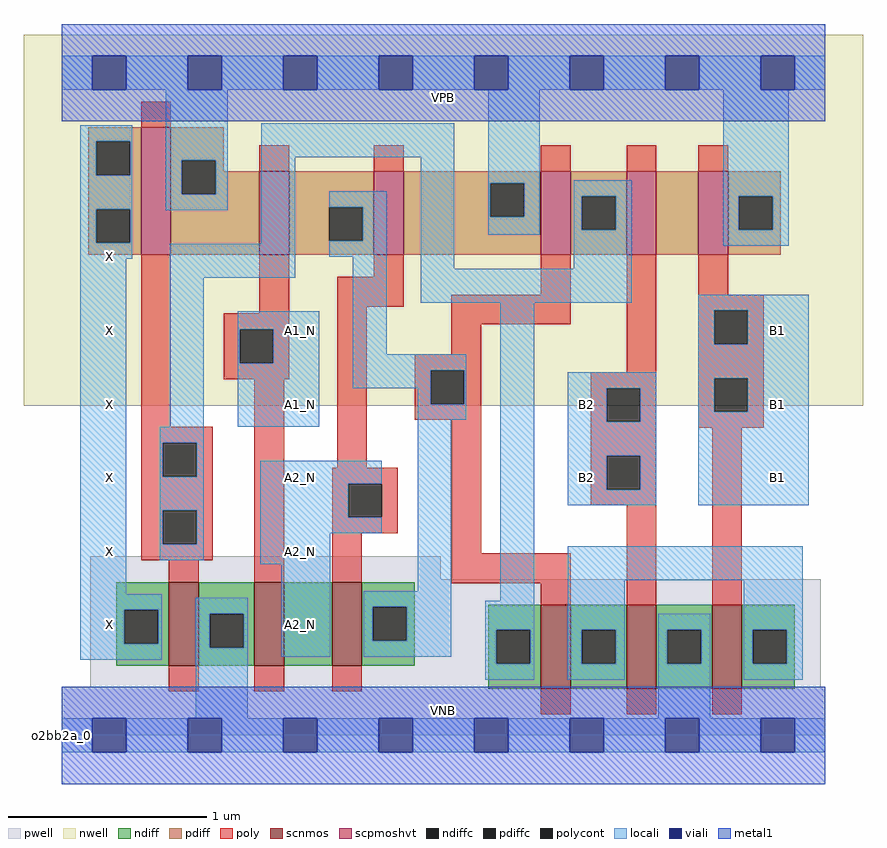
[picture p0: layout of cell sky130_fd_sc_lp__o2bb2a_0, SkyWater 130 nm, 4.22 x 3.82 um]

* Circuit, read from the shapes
.subckt sky130_fd_sc_lp__o2bb2a_0 A1_N A2_N B1 B2 VGND VNB VPB VPWR X
XM1 VGND n1 X VNB sky130_fd_pr__nfet_01v8 w=0.42 l=0.15
XM2 n2 A1_N VGND VNB sky130_fd_pr__nfet_01v8 w=0.42 l=0.15
XM3 n3 A2_N n2 VNB sky130_fd_pr__nfet_01v8 w=0.42 l=0.15
XM4 n4 n3 n1 VNB sky130_fd_pr__nfet_01v8 w=0.42 l=0.15
XM5 VGND B2 n4 VNB sky130_fd_pr__nfet_01v8 w=0.42 l=0.15
XM6 n4 B1 VGND VNB sky130_fd_pr__nfet_01v8 w=0.42 l=0.15
XM7 VPWR n1 X VPB sky130_fd_pr__pfet_01v8_hvt w=0.64 l=0.15
XM8 n3 A1_N VPWR VPB sky130_fd_pr__pfet_01v8_hvt w=0.42 l=0.15
XM9 VPWR A2_N n3 VPB sky130_fd_pr__pfet_01v8_hvt w=0.42 l=0.15
XM10 n1 n3 VPWR VPB sky130_fd_pr__pfet_01v8_hvt w=0.42 l=0.15
XM11 n5 B2 n1 VPB sky130_fd_pr__pfet_01v8_hvt w=0.42 l=0.15
XM12 VPWR B1 n5 VPB sky130_fd_pr__pfet_01v8_hvt w=0.42 l=0.15
.ends

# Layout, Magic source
magic
tech sky130A
magscale 1 2
<< nwell >>
rect -38 331 806 704
<< pwell >>
rect 29 157 381 180
rect 29 49 763 157
rect 0 0 768 49
<< scnmos >>
rect 108 70 138 154
rect 194 70 224 154
rect 272 70 302 154
rect 482 47 512 131
rect 568 47 598 131
rect 654 47 684 131
<< scpmoshvt >>
rect 80 483 110 611
rect 199 483 229 567
rect 314 483 344 567
rect 482 483 512 567
rect 568 483 598 567
rect 640 483 670 567
<< ndiff >>
rect 55 126 108 154
rect 55 92 63 126
rect 97 92 108 126
rect 55 70 108 92
rect 138 122 194 154
rect 138 88 149 122
rect 183 88 194 122
rect 138 70 194 88
rect 224 70 272 154
rect 302 129 355 154
rect 302 95 313 129
rect 347 95 355 129
rect 302 70 355 95
rect 429 106 482 131
rect 429 72 437 106
rect 471 72 482 106
rect 429 47 482 72
rect 512 106 568 131
rect 512 72 523 106
rect 557 72 568 106
rect 512 47 568 72
rect 598 106 654 131
rect 598 72 609 106
rect 643 72 654 106
rect 598 47 654 72
rect 684 106 737 131
rect 684 72 695 106
rect 729 72 737 106
rect 684 47 737 72
<< pdiff >>
rect 27 597 80 611
rect 27 563 35 597
rect 69 563 80 597
rect 27 529 80 563
rect 27 495 35 529
rect 69 495 80 529
rect 27 483 80 495
rect 110 578 163 611
rect 110 544 121 578
rect 155 567 163 578
rect 155 544 199 567
rect 110 483 199 544
rect 229 531 314 567
rect 229 497 269 531
rect 303 497 314 531
rect 229 483 314 497
rect 344 555 482 567
rect 344 521 431 555
rect 465 521 482 555
rect 344 483 482 521
rect 512 542 568 567
rect 512 508 523 542
rect 557 508 568 542
rect 512 483 568 508
rect 598 483 640 567
rect 670 542 723 567
rect 670 508 681 542
rect 715 508 723 542
rect 670 483 723 508
<< ndiffc >>
rect 63 92 97 126
rect 149 88 183 122
rect 313 95 347 129
rect 437 72 471 106
rect 523 72 557 106
rect 609 72 643 106
rect 695 72 729 106
<< pdiffc >>
rect 35 563 69 597
rect 35 495 69 529
rect 121 544 155 578
rect 269 497 303 531
rect 431 521 465 555
rect 523 508 557 542
rect 681 508 715 542
<< poly >>
rect 80 611 110 637
rect 199 567 229 593
rect 314 567 344 593
rect 482 567 512 593
rect 568 567 598 593
rect 640 567 670 593
rect 80 310 110 483
rect 199 424 229 483
rect 314 461 344 483
rect 163 408 229 424
rect 163 374 179 408
rect 213 374 229 408
rect 163 358 229 374
rect 277 431 344 461
rect 482 443 512 483
rect 80 294 152 310
rect 80 260 102 294
rect 136 260 152 294
rect 80 226 152 260
rect 80 192 102 226
rect 136 192 152 226
rect 80 176 152 192
rect 108 154 138 176
rect 194 154 224 358
rect 277 269 307 431
rect 392 413 512 443
rect 392 383 422 413
rect 355 367 422 383
rect 355 333 371 367
rect 405 333 422 367
rect 568 365 598 483
rect 355 317 422 333
rect 272 253 338 269
rect 272 219 288 253
rect 322 219 338 253
rect 272 203 338 219
rect 272 154 302 203
rect 392 183 422 317
rect 532 349 598 365
rect 532 315 548 349
rect 582 315 598 349
rect 532 281 598 315
rect 640 443 670 483
rect 640 427 706 443
rect 640 393 656 427
rect 690 393 706 427
rect 640 359 706 393
rect 640 325 656 359
rect 690 325 706 359
rect 640 309 706 325
rect 532 247 548 281
rect 582 247 598 281
rect 532 231 598 247
rect 392 153 512 183
rect 482 131 512 153
rect 568 131 598 231
rect 654 131 684 309
rect 108 44 138 70
rect 194 44 224 70
rect 272 44 302 70
rect 482 21 512 47
rect 568 21 598 47
rect 654 21 684 47
<< polycont >>
rect 179 374 213 408
rect 102 260 136 294
rect 102 192 136 226
rect 371 333 405 367
rect 288 219 322 253
rect 548 315 582 349
rect 656 393 690 427
rect 656 325 690 359
rect 548 247 582 281
<< locali >>
rect 0 649 31 683
rect 65 649 127 683
rect 161 649 223 683
rect 257 649 319 683
rect 353 649 415 683
rect 449 649 511 683
rect 545 649 607 683
rect 641 649 703 683
rect 737 649 768 683
rect 19 597 71 613
rect 19 563 35 597
rect 69 563 71 597
rect 19 529 71 563
rect 19 495 35 529
rect 69 495 71 529
rect 105 578 167 649
rect 105 544 121 578
rect 155 544 167 578
rect 105 528 167 544
rect 201 581 395 615
rect 19 479 71 495
rect 201 494 235 581
rect 19 142 65 479
rect 109 460 235 494
rect 269 531 327 547
rect 303 497 327 531
rect 269 481 327 497
rect 109 310 143 460
rect 177 408 259 426
rect 177 374 179 408
rect 213 374 259 408
rect 177 310 259 374
rect 293 383 327 481
rect 361 469 395 581
rect 429 555 481 649
rect 429 521 431 555
rect 465 521 481 555
rect 429 503 481 521
rect 515 542 573 558
rect 515 508 523 542
rect 557 508 573 542
rect 515 469 573 508
rect 665 542 731 649
rect 665 508 681 542
rect 715 508 731 542
rect 665 492 731 508
rect 361 435 573 469
rect 293 367 407 383
rect 293 349 371 367
rect 358 333 371 349
rect 405 333 407 367
rect 358 317 407 333
rect 99 294 143 310
rect 99 260 102 294
rect 136 260 143 294
rect 99 226 143 260
rect 99 192 102 226
rect 136 192 143 226
rect 99 176 143 192
rect 200 253 322 276
rect 200 219 288 253
rect 200 203 322 219
rect 200 172 270 203
rect 19 126 101 142
rect 19 92 63 126
rect 97 92 101 126
rect 19 76 101 92
rect 135 122 187 138
rect 135 88 149 122
rect 183 88 187 122
rect 135 17 187 88
rect 221 79 270 172
rect 358 145 392 317
rect 304 129 392 145
rect 441 135 475 435
rect 640 427 751 443
rect 640 393 656 427
rect 690 393 751 427
rect 509 349 598 365
rect 509 315 548 349
rect 582 315 598 349
rect 509 281 598 315
rect 509 247 548 281
rect 582 247 598 281
rect 509 231 598 247
rect 640 359 751 393
rect 640 325 656 359
rect 690 325 751 359
rect 640 231 751 325
rect 304 95 313 129
rect 347 95 392 129
rect 304 79 392 95
rect 426 106 475 135
rect 426 72 437 106
rect 471 72 475 106
rect 426 56 475 72
rect 509 156 745 190
rect 509 106 566 156
rect 509 72 523 106
rect 557 72 566 106
rect 509 56 566 72
rect 600 106 652 122
rect 600 72 609 106
rect 643 72 652 106
rect 600 17 652 72
rect 686 106 745 156
rect 686 72 695 106
rect 729 72 745 106
rect 686 56 745 72
rect 0 -17 31 17
rect 65 -17 127 17
rect 161 -17 223 17
rect 257 -17 319 17
rect 353 -17 415 17
rect 449 -17 511 17
rect 545 -17 607 17
rect 641 -17 703 17
rect 737 -17 768 17
<< viali >>
rect 31 649 65 683
rect 127 649 161 683
rect 223 649 257 683
rect 319 649 353 683
rect 415 649 449 683
rect 511 649 545 683
rect 607 649 641 683
rect 703 649 737 683
rect 31 -17 65 17
rect 127 -17 161 17
rect 223 -17 257 17
rect 319 -17 353 17
rect 415 -17 449 17
rect 511 -17 545 17
rect 607 -17 641 17
rect 703 -17 737 17
<< metal1 >>
rect 0 683 768 715
rect 0 649 31 683
rect 65 649 127 683
rect 161 649 223 683
rect 257 649 319 683
rect 353 649 415 683
rect 449 649 511 683
rect 545 649 607 683
rect 641 649 703 683
rect 737 649 768 683
rect 0 617 768 649
rect 0 17 768 49
rect 0 -17 31 17
rect 65 -17 127 17
rect 161 -17 223 17
rect 257 -17 319 17
rect 353 -17 415 17
rect 449 -17 511 17
rect 545 -17 607 17
rect 641 -17 703 17
rect 737 -17 768 17
rect 0 -49 768 -17
<< labels >>
flabel pwell s 0 0 768 49 0 FreeSans 200 0 0 0 VNB
port 6 nsew ground bidirectional
flabel nwell s 0 617 768 666 0 FreeSans 200 0 0 0 VPB
port 7 nsew power bidirectional
rlabel comment s 0 0 0 0 4 o2bb2a_0
flabel metal1 s 0 617 768 666 0 FreeSans 340 0 0 0 VPWR
port 8 nsew power bidirectional
flabel metal1 s 0 0 768 49 0 FreeSans 340 0 0 0 VGND
port 5 nsew ground bidirectional
flabel locali s 223 316 257 350 0 FreeSans 340 0 0 0 A1_N
port 1 nsew signal input
flabel locali s 223 390 257 424 0 FreeSans 340 0 0 0 A1_N
port 1 nsew signal input
flabel locali s 703 242 737 276 0 FreeSans 340 0 0 0 B1
port 3 nsew signal input
flabel locali s 703 316 737 350 0 FreeSans 340 0 0 0 B1
port 3 nsew signal input
flabel locali s 703 390 737 424 0 FreeSans 340 0 0 0 B1
port 3 nsew signal input
flabel locali s 511 242 545 276 0 FreeSans 340 0 0 0 B2
port 4 nsew signal input
flabel locali s 511 316 545 350 0 FreeSans 340 0 0 0 B2
port 4 nsew signal input
flabel locali s 31 94 65 128 0 FreeSans 340 0 0 0 X
port 9 nsew signal output
flabel locali s 31 168 65 202 0 FreeSans 340 0 0 0 X
port 9 nsew signal output
flabel locali s 31 242 65 276 0 FreeSans 340 0 0 0 X
port 9 nsew signal output
flabel locali s 31 316 65 350 0 FreeSans 340 0 0 0 X
port 9 nsew signal output
flabel locali s 31 390 65 424 0 FreeSans 340 0 0 0 X
port 9 nsew signal output
flabel locali s 31 464 65 498 0 FreeSans 340 0 0 0 X
port 9 nsew signal output
flabel locali s 223 94 257 128 0 FreeSans 340 0 0 0 A2_N
port 2 nsew signal input
flabel locali s 223 168 257 202 0 FreeSans 340 0 0 0 A2_N
port 2 nsew signal input
flabel locali s 223 242 257 276 0 FreeSans 340 0 0 0 A2_N
port 2 nsew signal input
<< properties >>
string LEFsite unit
string LEFclass CORE
string FIXED_BBOX 0 0 768 666
string GDS_FILE $PDKPATH/libs.ref/sky130_fd_sc_lp/gds/sky130_fd_sc_lp.gds
string LEFsymmetry X Y R90
string GDS_END 3666864
string GDS_START 3658808
<< end >>
